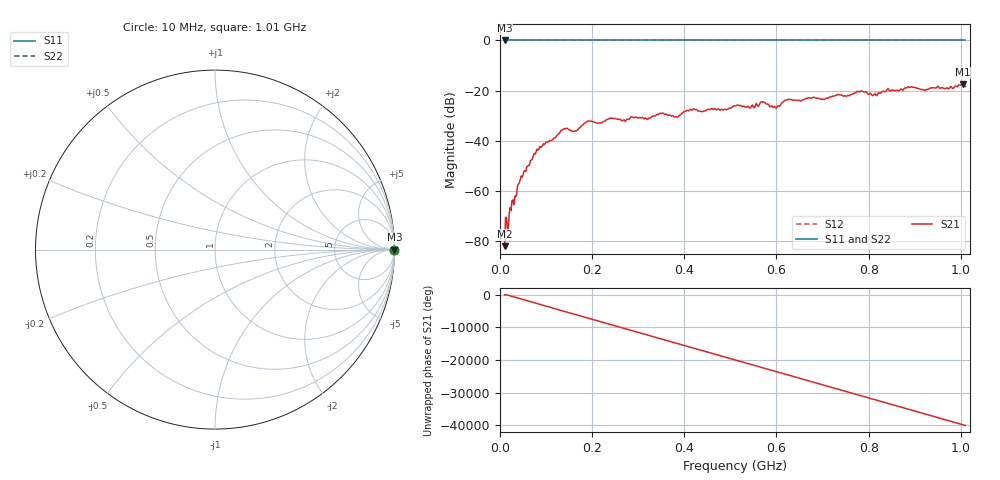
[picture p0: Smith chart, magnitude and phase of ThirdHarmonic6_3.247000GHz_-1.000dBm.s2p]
! 8/17/2025 9:59:05 AM
! C:\ANRITSUVNA\TEMP\TEMP.S2P
! CHANNEL.1
! TR.MEASUREMENT
! RAW.DATA
! RF.CORRECTION.OFF
! AVERAGING.OFF
! IF.BANDWIDTH: 5KHZ
! SWEEPTYPE:  FREQ.SWEEP(Linear)
! Reference Plane Port Info
! PORT:  PORT1  PORT2
! DISTANCE:  0  m  0  m
! TIME:  0  s  0  s
! PHASE.OFFSET:  0  deg.  0  deg.
! LOSS:  0  dB  0  dB
! REF.LOSS:  0  dB  0  dB
! REF.FREQ:  0  Hz  0  Hz
! Power Info
! POWER:  -20  dBm  -20  dBm
! EFF.POWER:  -20  dBm  -20  dBm
! SOURCE.ATTEN:  0  dB  0  dB
! TEST.ATTEN:  0  dB  0  dB
# GHZ S RI R 50.0
! FREQ.GHZ  S11RE  S11IM  S21RE  S21IM  S12RE  S12IM  S22RE  S22IM
!; PortSelection: Port_12
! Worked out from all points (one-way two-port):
!   501 points, 10 MHz to 1.01 GHz, reference 50 ohm
!   highest |S21| = -17.43 dB at 1.004 GHz (marker M1); lowest = -82.1 dB at 10 MHz (marker M2)
!   lowest |S11| = 0.0 dB at 10 MHz (marker M3)
!   |S11| at or under -10 dB: nowhere
!   |S22| runs from 0.0 to 0.0 dB; largest |S21 - S12| = 1.1
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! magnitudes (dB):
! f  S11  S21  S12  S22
! 10 MHz  0.0  -82.1  0.0  0.0
! 42 MHz  0.0  -56.8  0.0  0.0
! 76 MHz  0.0  -45.4  0.0  0.0
! 136 MHz  0.0  -35.7  0.0  0.0
! 162 MHz  0.0  -36.3  0.0  0.0
! 178 MHz  0.0  -33.9  0.0  0.0
! 192 MHz  0.0  -32.1  0.0  0.0
! 322 MHz  0.0  -31.1  0.0  0.0
! 344 MHz  0.0  -29.6  0.0  0.0
! 382 MHz  0.0  -30.4  0.0  0.0
! 416 MHz  0.0  -27.8  0.0  0.0
! 510 MHz  0.0  -26.1  0.0  0.0
! 548 MHz  0.0  -25.7  0.0  0.0
! 570 MHz  0.0  -24.5  0.0  0.0
! 596 MHz  0.0  -26.3  0.0  0.0
! 622 MHz  0.0  -23.7  0.0  0.0
! 678 MHz  0.0  -22.8  0.0  0.0
! 780 MHz  0.0  -20.5  0.0  0.0
! 814 MHz  0.0  -21.3  0.0  0.0
! 844 MHz  0.0  -19.7  0.0  0.0
! 1.004 GHz  0.0  -17.4  0.0  0.0
! 1.01 GHz  0.0  -18.4  0.0  0.0
